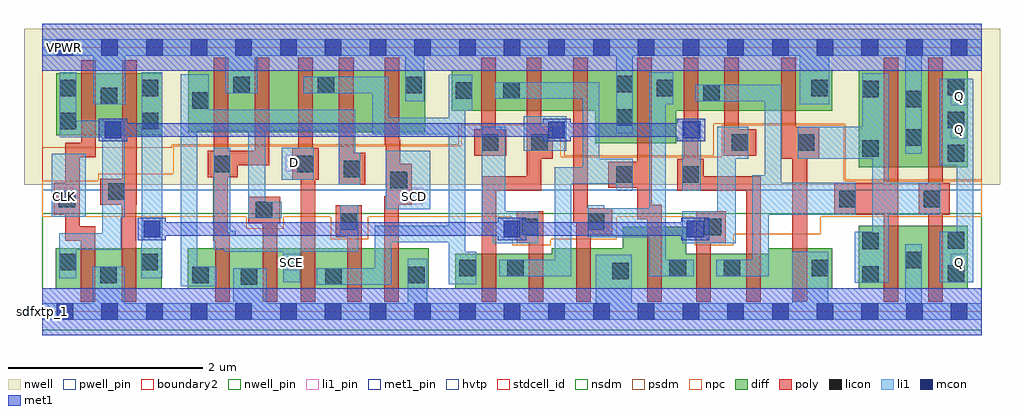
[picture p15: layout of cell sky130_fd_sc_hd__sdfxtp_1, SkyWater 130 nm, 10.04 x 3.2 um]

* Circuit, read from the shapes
.subckt sky130_fd_sc_hd__sdfxtp_1 CLK D Q SCD SCE VGND VNB VPB VPWR
XM1 VGND CLK n1 VNB sky130_fd_pr__nfet_01v8 w=0.42 l=0.15
XM2 n2 n1 VGND VNB sky130_fd_pr__nfet_01v8 w=0.42 l=0.15
XM3 VGND SCE n3 VNB sky130_fd_pr__nfet_01v8 w=0.42 l=0.15
XM4 n4 n3 VGND VNB sky130_fd_pr__nfet_01v8 w=0.42 l=0.15
XM5 n5 D n4 VNB sky130_fd_pr__nfet_01v8 w=0.42 l=0.15
XM6 n6 SCE n5 VNB sky130_fd_pr__nfet_01v8 w=0.42 l=0.15
XM7 VGND SCD n6 VNB sky130_fd_pr__nfet_01v8 w=0.42 l=0.15
XM8 n7 n1 n5 VNB sky130_fd_pr__nfet_01v8 w=0.36 l=0.15
XM9 n8 n2 n7 VNB sky130_fd_pr__nfet_01v8 w=0.36 l=0.15
XM10 VGND n9 n8 VNB sky130_fd_pr__nfet_01v8 w=0.42 l=0.15
XM11 n9 n7 VGND VNB sky130_fd_pr__nfet_01v8 w=0.64 l=0.15
XM12 n10 n2 n9 VNB sky130_fd_pr__nfet_01v8 w=0.36 l=0.15
XM13 n11 n1 n10 VNB sky130_fd_pr__nfet_01v8 w=0.36 l=0.15
XM14 VGND n12 n11 VNB sky130_fd_pr__nfet_01v8 w=0.42 l=0.15
XM15 VGND n10 n12 VNB sky130_fd_pr__nfet_01v8 w=0.65 l=0.15
XM16 Q n12 VGND VNB sky130_fd_pr__nfet_01v8 w=0.65 l=0.15
XM17 VPWR CLK n1 VPB sky130_fd_pr__pfet_01v8_hvt w=0.64 l=0.15
XM18 n2 n1 VPWR VPB sky130_fd_pr__pfet_01v8_hvt w=0.64 l=0.15
XM19 VPWR SCE n3 VPB sky130_fd_pr__pfet_01v8_hvt w=0.64 l=0.15
XM20 n13 SCE VPWR VPB sky130_fd_pr__pfet_01v8_hvt w=0.64 l=0.15
XM21 n5 D n13 VPB sky130_fd_pr__pfet_01v8_hvt w=0.64 l=0.15
XM22 n14 n3 n5 VPB sky130_fd_pr__pfet_01v8_hvt w=0.64 l=0.15
XM23 VPWR SCD n14 VPB sky130_fd_pr__pfet_01v8_hvt w=0.64 l=0.15
XM24 n7 n2 n5 VPB sky130_fd_pr__pfet_01v8_hvt w=0.42 l=0.15
XM25 n15 n1 n7 VPB sky130_fd_pr__pfet_01v8_hvt w=0.42 l=0.15
XM26 VPWR n9 n15 VPB sky130_fd_pr__pfet_01v8_hvt w=0.42 l=0.15
XM27 n9 n7 VPWR VPB sky130_fd_pr__pfet_01v8_hvt w=0.75 l=0.15
XM28 n10 n1 n9 VPB sky130_fd_pr__pfet_01v8_hvt w=0.42 l=0.15
XM29 n16 n2 n10 VPB sky130_fd_pr__pfet_01v8_hvt w=0.42 l=0.15
XM30 VPWR n12 n16 VPB sky130_fd_pr__pfet_01v8_hvt w=0.42 l=0.15
XM31 VPWR n10 n12 VPB sky130_fd_pr__pfet_01v8_hvt w=1 l=0.15
XM32 Q n12 VPWR VPB sky130_fd_pr__pfet_01v8_hvt w=1 l=0.15
.ends

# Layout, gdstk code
import gdstk
lib = gdstk.Library(unit=1e-6, precision=1e-09)
def R(c, l, rs):  # rectangles x0, y0, x1, y1
    for r in rs: c.add(gdstk.rectangle(r[:2], r[2:], *l))
def A(c, l, x, y, w, h, nx, ny, dx, dy):  # array of equal rectangles
    R(c, l, [(x+i*dx, y+j*dy, x+i*dx+w, y+j*dy+h) for i in range(nx) for j in range(ny)])
def P(c, l, *ps):  # polygons
    for p in ps: c.add(gdstk.Polygon(p, *l))
nwell_pin = (64, 16)
nwell = (64, 20)
diff = (65, 20)
poly = (66, 20)
licon = (66, 44)
li1_pin = (67, 16)
li1 = (67, 20)
mcon = (67, 44)
met1_pin = (68, 16)
met1 = (68, 20)
hvtp = (78, 44)
stdcell_id = (81, 4)
nsdm = (93, 44)
psdm = (94, 20)
npc = (95, 20)
pwell_pin = (122, 16)
boundary2 = (236, 0)

sky130_fd_sc_hd__sdfxtp_ = lib.new_cell('sky130_fd_sc_hd__sdfxtp_1')
R(sky130_fd_sc_hd__sdfxtp_, nwell_pin, [(0.145,2.635,0.315,2.805), (0.145,2.635,0.315,2.805)])
R(sky130_fd_sc_hd__sdfxtp_, nwell, [(-0.19,1.305,9.85,2.91)])
R(sky130_fd_sc_hd__sdfxtp_, diff, [(0.135,0.235,1.225,0.655), (1.495,0.235,3.975,0.655), (8.395,0.235,9.52,0.885), (8.395,1.485,9.52,2.485), (0.14,1.815,1.23,2.455), (1.5,1.845,3.94,2.485)])
P(sky130_fd_sc_hd__sdfxtp_, diff, [(8.125,2.485),(4.21,2.485),(4.21,2.065),(5.685,2.065),(5.685,1.735),(6.52,1.735),(6.52,2.065),(8.125,2.065)],
  [(8.125,0.655),(7.465,0.655),(7.465,0.595),(6.62,0.595),(6.62,0.875),(5.97,0.875),(5.97,0.655),(5.24,0.655),(5.24,0.595),(4.245,0.595),(4.245,0.235),(8.125,0.235)])
P(sky130_fd_sc_hd__sdfxtp_, poly, [(8.805,2.615),(8.655,2.615),(8.655,1.325),(8.145,1.325),(8.145,0.995),(8.655,0.995),(8.655,0.105),(8.805,0.105)],
  [(5.86,1.065),(5.61,1.065),(5.61,2.615),(5.46,2.615),(5.46,0.915),(5.49,0.915),(5.49,0.105),(5.64,0.105),(5.64,0.795),(5.86,0.795)],
  [(0.55,2.585),(0.4,2.585),(0.4,1.74),(0.235,1.74),(0.235,1.325),(0.115,1.325),(0.115,0.995),(0.235,0.995),(0.235,0.73),(0.395,0.73),(0.395,0.105),(0.545,0.105),(0.545,0.88),(0.385,0.88),(0.385,1.59),(0.55,1.59)],
  [(0.97,2.585),(0.82,2.585),(0.82,1.37),(0.595,1.37),(0.595,1.1),(0.815,1.1),(0.815,0.105),(0.965,0.105),(0.965,1.1),(0.97,1.1)],
  [(2.84,1.685),(2.78,1.685),(2.78,2.615),(2.63,2.615),(2.63,1.685),(2.57,1.685),(2.57,1.355),(2.655,1.355),(2.655,0.105),(2.805,0.105),(2.805,1.355),(2.84,1.355)],
  [(2.335,2.615),(2.185,2.615),(2.185,1.655),(1.91,1.655),(1.91,2.615),(1.76,2.615),(1.76,1.655),(1.7,1.655),(1.7,1.385),(1.755,1.385),(1.755,0.73),(1.775,0.73),(1.775,0.105),(1.925,0.105),(1.925,0.815),(1.905,0.815),(1.905,1.385),(2.01,1.385),(2.01,1.505),(2.335,1.505)],
  [(2.445,1.18),(2.115,1.18),(2.115,0.91),(2.265,0.91),(2.265,0.105),(2.415,0.105),(2.415,0.91),(2.445,0.91)],
  [(7.99,1.905),(7.75,1.905),(7.75,2.615),(7.6,2.615),(7.6,1.575),(7.715,1.575),(7.715,0.105),(7.865,0.105),(7.865,1.575),(7.99,1.575)],
  [(9.335,1.325),(9.26,1.325),(9.26,2.615),(9.11,2.615),(9.11,1.325),(9.015,1.325),(9.015,0.995),(9.11,0.995),(9.11,0.105),(9.26,0.105),(9.26,0.995),(9.335,0.995)],
  [(7.39,1.395),(6.8,1.395),(6.8,1.575),(6.745,1.575),(6.745,2.615),(6.595,2.615),(6.595,1.575),(6.53,1.575),(6.53,1.245),(7.24,1.245),(7.24,0.105),(7.39,0.105)],
  [(7.34,1.875),(7.165,1.875),(7.165,2.615),(7.015,2.615),(7.015,1.875),(7.01,1.875),(7.01,1.605),(7.34,1.605)],
  [(5.15,1.035),(4.88,1.035),(4.88,0.705),(5,0.705),(5,0.105),(5.15,0.105)],
  [(5.25,1.905),(5.13,1.905),(5.13,2.615),(4.98,2.615),(4.98,1.395),(4.52,1.395),(4.52,0.105),(4.67,0.105),(4.67,1.245),(5.13,1.245),(5.13,1.575),(5.25,1.575)],
  [(3.8,1.52),(3.68,1.52),(3.68,1.77),(3.67,1.77),(3.67,2.615),(3.52,2.615),(3.52,1.715),(3.53,1.715),(3.53,1.19),(3.515,1.19),(3.515,0.105),(3.665,0.105),(3.665,1.1),(3.8,1.1)],
  [(3.285,1.095),(3.015,1.095),(3.015,0.765),(3.135,0.765),(3.135,0.105),(3.285,0.105)],
  [(4.77,1.875),(4.665,1.875),(4.665,2.615),(4.515,2.615),(4.515,1.875),(4.44,1.875),(4.44,1.605),(4.77,1.605)],
  [(3.32,1.635),(3.2,1.635),(3.2,2.615),(3.05,2.615),(3.05,1.305),(3.32,1.305)],
  [(7.03,1.035),(6.725,1.035),(6.725,0.105),(6.875,0.105),(6.875,0.705),(7.03,0.705)],
  [(6.37,1.1),(6.27,1.1),(6.27,2.615),(6.12,2.615),(6.12,1.545),(5.82,1.545),(5.82,1.275),(6.12,1.275),(6.12,0.95),(6.22,0.95),(6.22,0.105),(6.37,0.105)])
A(sky130_fd_sc_hd__sdfxtp_, licon, 9.31, 1.545, 0.17, 0.17, 1, 3, 0, 0.34)
R(sky130_fd_sc_hd__sdfxtp_, licon, [(2.04,0.275,2.21,0.445), (2.91,0.275,3.08,0.445), (0.595,0.295,0.765,0.465), (1.54,0.295,1.71,0.465), (3.765,0.295,3.935,0.465), (8.435,0.3,8.605,0.47), (9.31,0.31,9.48,0.48), (5.86,0.335,6.03,0.505), (4.285,0.365,4.455,0.535), (4.78,0.365,4.95,0.535), (6.45,0.365,6.62,0.535), (7.01,0.365,7.18,0.535), (7.915,0.365,8.085,0.535), (0.175,0.425,0.345,0.595), (1.015,0.425,1.185,0.595), (8.875,0.445,9.045,0.615), (8.435,0.64,8.605,0.81), (9.31,0.65,9.48,0.82), (4.93,0.785,5.1,0.955), (6.81,0.785,6.98,0.955), (3.065,0.845,3.235,1.015), (5.61,0.845,5.78,1.015), (2.195,0.96,2.365,1.13), (0.165,1.075,0.335,1.245), (8.195,1.075,8.365,1.245), (9.065,1.075,9.235,1.245), (0.675,1.15,0.845,1.32), (3.58,1.27,3.75,1.44), (5.9,1.325,6.07,1.495), (6.58,1.325,6.75,1.495), (3.1,1.385,3.27,1.555), (1.76,1.435,1.93,1.605), (2.62,1.435,2.79,1.605), (8.435,1.595,8.605,1.765), (4.52,1.655,4.69,1.825), (5.03,1.655,5.2,1.825), (7.09,1.655,7.26,1.825), (7.77,1.655,7.94,1.825), (8.875,1.705,9.045,1.875), (0.18,1.875,0.35,2.045), (1.02,1.875,1.19,2.045), (5.9,1.915,6.07,2.085), (1.54,2.09,1.71,2.26), (8.875,2.105,9.045,2.275), (0.6,2.135,0.77,2.305), (6.795,2.165,6.965,2.335), (4.25,2.19,4.42,2.36), (4.74,2.19,4.91,2.36), (8.435,2.205,8.605,2.375), (0.18,2.215,0.35,2.385), (1.02,2.215,1.19,2.385), (6.32,2.215,6.49,2.385), (7.91,2.215,8.08,2.385), (1.96,2.245,2.13,2.415), (2.83,2.245,3,2.415), (3.73,2.245,3.9,2.415), (5.9,2.255,6.07,2.425)])
R(sky130_fd_sc_hd__sdfxtp_, li1_pin, [(2.475,0.425,2.645,0.595), (9.345,0.425,9.515,0.595), (0.145,1.105,0.315,1.275), (3.745,1.105,3.915,1.275), (2.505,1.445,2.675,1.615), (9.345,1.785,9.515,1.955), (9.345,2.125,9.515,2.295)])
R(sky130_fd_sc_hd__sdfxtp_, li1, [(0.095,0.975,0.445,1.625), (3.53,1.055,3.99,1.655), (6.58,1.245,6.77,1.965), (2.46,1.355,2.79,1.685), (4.95,1.655,5.39,2.01)])
P(sky130_fd_sc_hd__sdfxtp_, li1, [(0.845,1.965),(0.35,1.965),(0.35,2.465),(0.18,2.465),(0.18,1.795),(0.615,1.795),(0.615,0.805),(0.175,0.805),(0.175,0.345),(0.345,0.345),(0.345,0.635),(0.81,0.635),(0.81,0.97),(0.845,0.97)],
  [(1.23,2.465),(1.02,2.465),(1.02,0.715),(1.015,0.715),(1.015,0.345),(1.23,0.345)],
  [(9.575,2.395),(9.23,2.395),(9.23,1.505),(9.405,1.505),(9.405,0.82),(9.23,0.82),(9.23,0.305),(9.575,0.305)],
  [(9.235,1.325),(8.705,1.325),(8.705,2.455),(8.435,2.455),(8.435,1.905),(7.77,1.905),(7.77,1.575),(8.535,1.575),(8.535,0.825),(8.355,0.825),(8.355,0.3),(8.705,0.3),(8.705,0.995),(9.235,0.995)],
  [(9.66,0.085),(9.045,0.085),(9.045,0.695),(8.875,0.695),(8.875,0.085),(8.085,0.085),(8.085,0.615),(7.715,0.615),(7.715,0.085),(6.06,0.085),(6.06,0.585),(5.69,0.585),(5.69,0.085),(3.96,0.085),(3.96,0.545),(3.76,0.545),(3.76,0.085),(2.305,0.085),(2.305,0.445),(1.96,0.445),(1.96,0.085),(0.845,0.085),(0.845,0.465),(0.515,0.465),(0.515,0.085),(0,0.085),(0,-0.085),(9.66,-0.085)],
  [(8.365,1.325),(7.6,1.325),(7.6,2.335),(6.715,2.335),(6.715,2.165),(7.43,2.165),(7.43,1.405),(7.3,1.405),(7.3,0.535),(6.93,0.535),(6.93,0.365),(7.47,0.365),(7.47,0.995),(8.365,0.995)],
  [(7.26,1.905),(6.94,1.905),(6.94,1.035),(6.58,1.035),(6.58,0.705),(7.13,0.705),(7.13,1.575),(7.26,1.575)],
  [(5.1,1.035),(4.76,1.035),(4.76,1.905),(4.52,1.905),(4.52,0.78),(4.63,0.78),(4.63,0.705),(5.1,0.705)],
  [(4.46,0.615),(4.35,0.615),(4.35,2.065),(4.42,2.065),(4.42,2.44),(4.18,2.44),(4.18,1.995),(3.56,1.995),(3.56,2.415),(2.69,2.415),(2.69,2.245),(3.39,2.245),(3.39,1.825),(4.18,1.825),(4.18,0.885),(3.42,0.885),(3.42,0.445),(2.82,0.445),(2.82,0.275),(3.59,0.275),(3.59,0.715),(4.18,0.715),(4.18,0.285),(4.46,0.285)],
  [(6.7,0.535),(6.41,0.535),(6.41,2.135),(6.49,2.135),(6.49,2.465),(6.24,2.465),(6.24,1.065),(5.78,1.065),(5.78,1.095),(5.61,1.095),(5.61,0.765),(6.24,0.765),(6.24,0.365),(6.7,0.365)],
  [(6.07,1.575),(5.73,1.575),(5.73,2.36),(4.66,2.36),(4.66,2.19),(5.56,2.19),(5.56,1.485),(5.27,1.485),(5.27,0.535),(4.7,0.535),(4.7,0.365),(5.44,0.365),(5.44,1.315),(5.9,1.315),(5.9,1.245),(6.07,1.245)],
  [(9.66,2.805),(0,2.805),(0,2.635),(0.52,2.635),(0.52,2.135),(0.85,2.135),(0.85,2.635),(1.88,2.635),(1.88,2.245),(2.21,2.245),(2.21,2.635),(3.73,2.635),(3.73,2.165),(3.925,2.165),(3.925,2.635),(5.9,2.635),(5.9,1.835),(6.07,1.835),(6.07,2.635),(7.79,2.635),(7.79,2.135),(8.095,2.135),(8.095,2.635),(8.875,2.635),(8.875,1.625),(9.045,1.625),(9.045,2.635),(9.66,2.635)],
  [(3.27,1.635),(3.22,1.635),(3.22,2.075),(1.71,2.075),(1.71,2.445),(1.42,2.445),(1.42,0.26),(1.79,0.26),(1.79,0.465),(1.59,0.465),(1.59,1.86),(2.115,1.86),(2.115,0.96),(2.46,0.96),(2.46,1.13),(2.29,1.13),(2.29,1.86),(3.05,1.86),(3.05,1.305),(3.27,1.305)],
  [(3.25,1.095),(3.065,1.095),(3.065,0.785),(1.99,0.785),(1.99,0.835),(1.93,0.835),(1.93,1.685),(1.76,1.685),(1.76,0.635),(1.87,0.635),(1.87,0.615),(2.475,0.615),(2.475,0.305),(2.65,0.305),(2.65,0.615),(3.25,0.615)])
A(sky130_fd_sc_hd__sdfxtp_, mcon, 0.145, -0.085, 0.17, 0.17, 21, 2, 0.46, 2.72)
R(sky130_fd_sc_hd__sdfxtp_, mcon, [(1.04,0.765,1.21,0.935), (4.745,0.765,4.915,0.935), (6.63,0.765,6.8,0.935), (0.64,1.785,0.81,1.955), (5.205,1.785,5.375,1.955), (6.59,1.785,6.76,1.955)])
R(sky130_fd_sc_hd__sdfxtp_, met1_pin, [(0.145,-0.085,0.315,0.085), (0.145,2.635,0.315,2.805)])
P(sky130_fd_sc_hd__sdfxtp_, met1, [(6.82,1.985),(6.53,1.985),(6.53,1.94),(5.435,1.94),(5.435,1.985),(5.145,1.985),(5.145,1.94),(0.87,1.94),(0.87,1.985),(0.58,1.985),(0.58,1.755),(0.87,1.755),(0.87,1.8),(5.145,1.8),(5.145,1.755),(5.435,1.755),(5.435,1.8),(6.53,1.8),(6.53,1.755),(6.82,1.755)],
  [(6.86,0.965),(6.57,0.965),(6.57,0.92),(4.975,0.92),(4.975,0.965),(4.685,0.965),(4.685,0.92),(1.27,0.92),(1.27,0.965),(0.98,0.965),(0.98,0.735),(1.27,0.735),(1.27,0.78),(4.685,0.78),(4.685,0.735),(4.975,0.735),(4.975,0.78),(6.57,0.78),(6.57,0.735),(6.86,0.735)])
R(sky130_fd_sc_hd__sdfxtp_, hvtp, [(0,1.25,9.66,2.72)])
R(sky130_fd_sc_hd__sdfxtp_, stdcell_id, [(0,0,9.66,2.72)])
R(sky130_fd_sc_hd__sdfxtp_, nsdm, [(0,-0.19,9.66,1.015)])
P(sky130_fd_sc_hd__sdfxtp_, psdm, [(9.66,2.91),(0,2.91),(0,1.685),(1.33,1.685),(1.33,1.715),(4.28,1.715),(4.28,1.935),(5.37,1.935),(5.37,1.605),(6.905,1.605),(6.905,1.935),(8.26,1.935),(8.26,1.355),(9.66,1.355)])
P(sky130_fd_sc_hd__sdfxtp_, npc, [(9.66,1.345),(8.25,1.345),(8.25,1.925),(6.99,1.925),(6.99,1.595),(5.33,1.595),(5.33,1.925),(4.31,1.925),(4.31,1.705),(1.345,1.705),(1.345,1.42),(0.575,1.42),(0.575,1.345),(0,1.345),(0,0.975),(2.095,0.975),(2.095,0.855),(2.48,0.855),(2.48,0.975),(2.965,0.975),(2.965,0.745),(3.35,0.745),(3.35,0.975),(4.83,0.975),(4.83,0.685),(5.23,0.685),(5.23,0.745),(5.91,0.745),(5.91,0.975),(6.71,0.975),(6.71,0.685),(7.11,0.685),(7.11,0.795),(8.005,0.795),(8.005,0.975),(9.66,0.975)])
R(sky130_fd_sc_hd__sdfxtp_, pwell_pin, [(0.145,-0.085,0.315,0.085), (0.145,-0.085,0.315,0.085)])
R(sky130_fd_sc_hd__sdfxtp_, boundary2, [(0,0,9.66,2.72)])
sky130_fd_sc_hd__sdfxtp_.add(gdstk.FlexPath([(0,0),(9.66,0)], 0.48, ends="flush", simple_path=True, layer=68, datatype=20))  # met1
sky130_fd_sc_hd__sdfxtp_.add(gdstk.FlexPath([(0,2.72),(9.66,2.72)], 0.48, ends="flush", simple_path=True, layer=68, datatype=20))  # met1
sky130_fd_sc_hd__sdfxtp_.add(gdstk.Label('sdfxtp_1', (0,0), layer=83, texttype=44))
sky130_fd_sc_hd__sdfxtp_.add(gdstk.Label('VPWR', (0.23,2.72), layer=68, texttype=5))
sky130_fd_sc_hd__sdfxtp_.add(gdstk.Label('VGND', (0.23,0), layer=68, texttype=5))
sky130_fd_sc_hd__sdfxtp_.add(gdstk.Label('Q', (9.43,2.21), layer=67, texttype=5))
sky130_fd_sc_hd__sdfxtp_.add(gdstk.Label('Q', (9.43,1.87), layer=67, texttype=5))
sky130_fd_sc_hd__sdfxtp_.add(gdstk.Label('Q', (9.43,0.51), layer=67, texttype=5))
sky130_fd_sc_hd__sdfxtp_.add(gdstk.Label('CLK', (0.23,1.19), layer=67, texttype=5))
sky130_fd_sc_hd__sdfxtp_.add(gdstk.Label('SCE', (2.56,0.51), layer=67, texttype=5))
sky130_fd_sc_hd__sdfxtp_.add(gdstk.Label('D', (2.59,1.53), layer=67, texttype=5))
sky130_fd_sc_hd__sdfxtp_.add(gdstk.Label('SCD', (3.83,1.19), layer=67, texttype=5))
sky130_fd_sc_hd__sdfxtp_.add(gdstk.Label('VPB', (0.23,2.72), layer=64, texttype=5))
sky130_fd_sc_hd__sdfxtp_.add(gdstk.Label('VPB', (0.23,2.72), layer=64, texttype=5))
sky130_fd_sc_hd__sdfxtp_.add(gdstk.Label('VNB', (0.23,0), layer=64, texttype=59))
sky130_fd_sc_hd__sdfxtp_.add(gdstk.Label('VNB', (0.23,0), layer=64, texttype=59))

lib.write_gds('sky130_fd_sc_hd__sdfxtp_1.gds')
